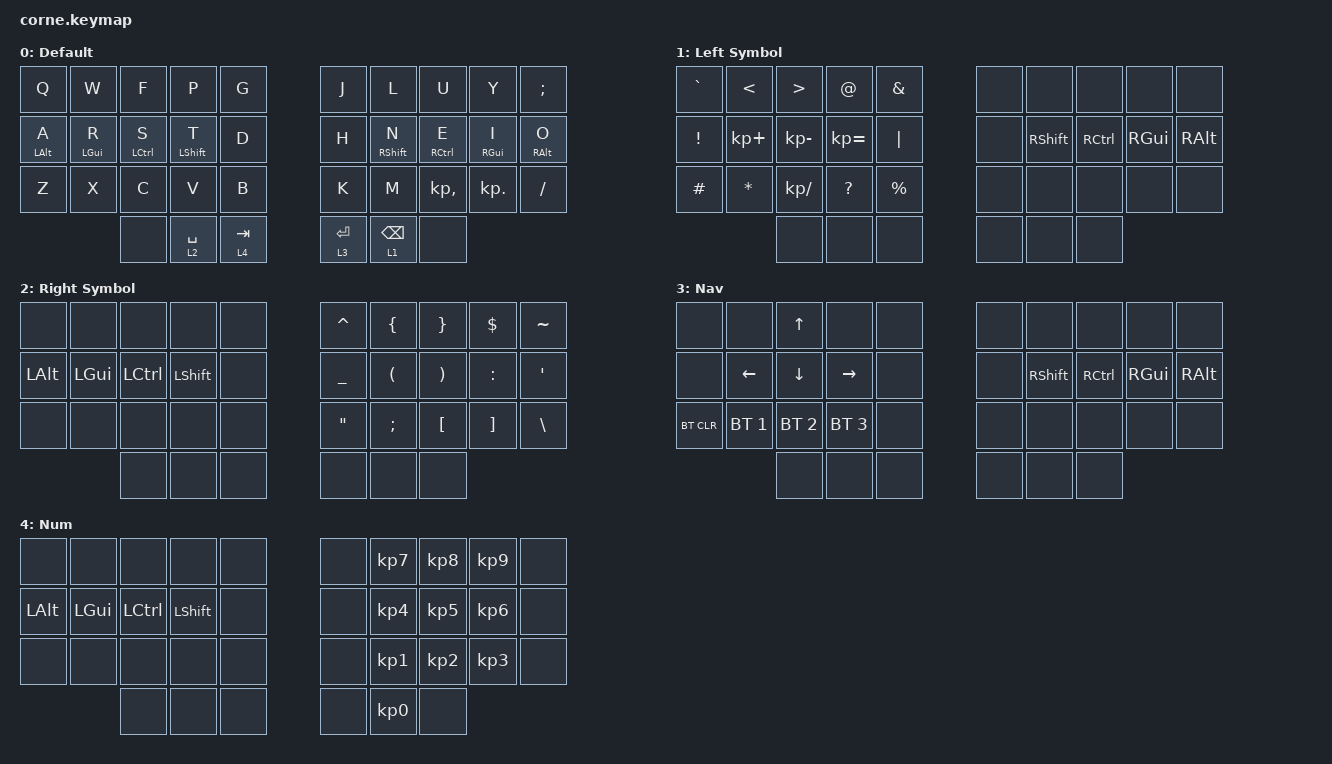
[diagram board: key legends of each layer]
/*
 * Copyright (c) 2020 The ZMK Contributors
 *
 * SPDX-License-Identifier: MIT
 */

#include <behaviors.dtsi>
#include <dt-bindings/zmk/keys.h>
#include <dt-bindings/zmk/bt.h>

#define AS(keycode) &as LS(keycode) keycode  // autoshift macro

// Update/override configured properties for pre-defined ZMK behaviors
&lt {
        tapping-term-ms = <200>;
};

&mt {
        tapping-term-ms = <200>;
};

/ {
        behaviors {
                as: auto_shift {
                        compatible = "zmk,behavior-hold-tap";
                        #binding-cells = <2>;
                        tapping_term_ms = <135>;
                        quick_tap_ms = <0>;
                        flavor = "tap-preferred";
                        bindings = <&kp>, <&kp>;
                };

                hm: homerow_mods {
                        compatible = "zmk,behavior-hold-tap";
                        #binding-cells = <2>;
                        tapping-term-ms = <150>;
                        quick-tap-ms = <0>;
                        flavor = "tap-preferred";
                        bindings = <&kp>, <&kp>;
                };
 
                bhm: balanced_homerow_mods {
                        compatible = "zmk,behavior-hold-tap";
                        #binding-cells = <2>;
                        tapping-term-ms = <200>;    // <---[[moderate duration]]
                        quick-tap-ms = <0>;
                        flavor = "balanced";
                        bindings = <&kp>, <&kp>;
                };
        };
};

// Combos configured ini your `.keymap` file
// but are separate from the `keymap` node found here
// since they are processed before the normal keymap
/ {
        combos {
                compatible = "zmk,combos";
                combo_esc {
                        timeout-ms = <50>;
                        key-positions = <16 17>;
                        bindings = <&kp ESC>;
                };
                combo_tab {
                        timeout-ms = <50>;
                        key-positions = <12 13>;
                        bindings = <&kp TAB>;
                };
                combo_caps {
                        timeout-ms = <50>;
                        key-positions = <14 15>;
                        bindings = <&kp CAPS>;
                };
        };
};

/ {
        chosen {
                zmk,matrix-transform = &five_column_transform;
        };

        keymap {
                compatible = "zmk,keymap";

                default_layer {
// -----------------------------------------------------------------------------------------
// |  Q  |  W  |  F  |  P  |  G  |   |  J  |  L  |  U  |  Y  |  ;  |
// |  A  |  R  |  S  |  T  |  D  |   |  H  |  N  |  E  |  I  |  O  |
// |  Z  |  X  |  C  |  V  |  B  |   |  K  |  M  |  ,  |  .  |  /  |
//             |     |SPACE| TAB |   |ENTER| BSPC|     |
                        display-name = "Default";
                        bindings = <
   &kp Q       &kp W       &kp F        &kp P         &kp G   &kp J &kp L         &kp U        &kp Y       &kp SEMI
   &bhm LALT A &bhm LGUI R &bhm LCTRL S &bhm LSHIFT T &kp D   &kp H &bhm RSHIFT N &bhm RCTRL E &bhm RGUI I &bhm RALT O
   &kp Z       &kp X       &kp C        &kp V         &kp B   &kp K &kp M         &kp KP_COMMA &kp KP_DOT  &kp SLASH
                           &none      &lt 2 SPACE &lt 4 TAB   &lt 3 RETURN        &lt 1 BSPC   &none
                        >;
                };
 
                left_symbol_layer {
// -----------------------------------------------------------------------------------------
// |  `  |  <  |  >  |  @  |  &  |   |     |     |     |     |     |
// |  !  |  +  |  -  |  =  |  |  |   |     |SHIFT| CTRL| GUI | ALT |
// |  #  |  *  |  /  |  ?  |  %  |   |     |     |     |     |     |
//             |     |     |     |   |     |     |     |
                        display-name = "Left Symbol";
                        bindings = <
   &kp GRAVE &kp LT      &kp GT       &kp AT       &kp AMPS    &none &none      &none     &none    &none
   &kp EXCL  &kp KP_PLUS &kp KP_MINUS &kp KP_EQUAL &kp PIPE    &none &kp RSHIFT &kp RCTRL &kp RGUI &kp RALT
   &kp HASH  &kp STAR    &kp KP_SLASH &kp QMARK    &kp PRCNT   &none &none      &none     &none    &none
                         &none        &none        &none       &none &none      &none
                        >;
                };

                right_symbol_layer {
// -----------------------------------------------------------------------------------------
// |     |     |     |     |     |   |  ^  |  {  |  }  |  $  |  ~  |
// | ALT | GUI |ctrl |SHIFT|     |   |  _  |  (  |  )  |  :  |  '  |
// |     |     |     |     |     |   |  "  |  ;  |  [  |  ]  |  \  |
//             |     |     |     |   |     |     |     |
                        display-name = "Right Symbol";
                        bindings = <
   &none    &none    &none     &none     &none   &kp CARET &kp LBRC &kp RBRC &kp DLLR  &kp TILDE
   &kp LALT &kp LGUI &kp LCTRL &kp LSHFT &none   &kp UNDER &kp LPAR &kp RPAR &kp COLON &kp SQT
   &none    &none    &none     &none     &none   &kp DQT   &kp SEMI &kp LBKT &kp RBKT  &kp BSLH
                     &none     &none     &none   &none     &none    &none
                        >;
                };

                nav_layer {
// -----------------------------------------------------------------------------------------
// |     |     |  UP |     |     |   |     |     |     |     |     |
// |     | LFT | DWN | RGT |     |   |     |SHIFT| CTRL| GUI | ALT |
// |BTCLR| bt1 | BT2 | BT3 |     |   |     |     |     |     |     |
//             |     |     |     |   |     |     |     |
                        display-name = "Nav";
                        bindings = <
   &none      &none        &kp UP       &none        &none   &none &none      &none     &none    &none
   &none      &kp LEFT     &kp DOWN     &kp RIGHT    &none   &none &kp RSHIFT &kp RCTRL &kp RGUI &kp RALT
   &bt BT_CLR &bt BT_SEL 1 &bt BT_SEL 2 &bt BT_SEL 3 &none   &none &none      &none     &none    &none
                           &none        &none        &none   &none &none      &none
                        >;
                };

                num_layer {
// -----------------------------------------------------------------------------------------
// |     |     |     |     |     |   |     |  7  |  8  |  9  |     |
// | ALT | GUI |ctrl |SHIFT|     |   |     |  4  |  5  |  6  |     |
// |     |     |     |     |     |   |     |  1  |  2  |  3  |     |
//             |     |     |     |   |     |  0  |     |
                        display-name = "Num";
                        bindings = <
   &none    &none    &none     &none     &none   &none &kp KP_N7 &kp KP_N8 &kp KP_N9 &none
   &kp LALT &kp LGUI &kp LCTRL &kp LSHFT &none   &none &kp KP_N4 &kp KP_N5 &kp KP_N6 &none
   &none    &none    &none     &none     &none   &none &kp KP_N1 &kp KP_N2 &kp KP_N3 &none
                     &none     &none     &none   &none &kp KP_N0 &none
                        >;
                };
        };
};
